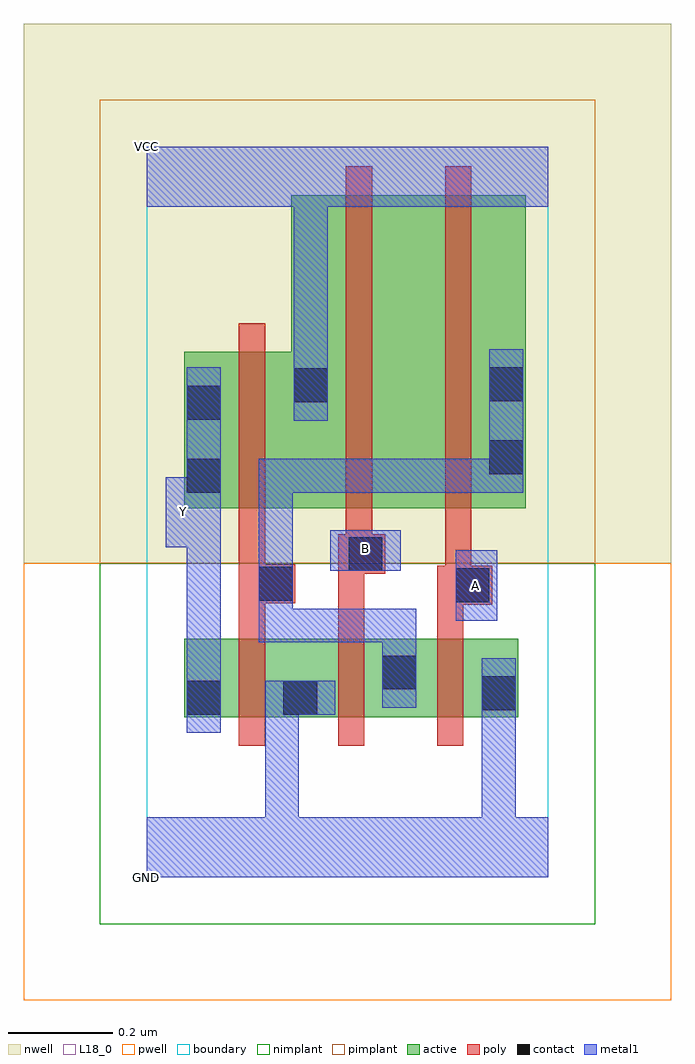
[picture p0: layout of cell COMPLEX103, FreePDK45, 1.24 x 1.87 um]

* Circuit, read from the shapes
.subckt COMPLEX103 A B GND VCC Y
M1 GND n1 Y VSUBS nfet w=0.15u l=0.05u
M2 n1 B GND VSUBS nfet w=0.15u l=0.05u
M3 GND A n1 VSUBS nfet w=0.15u l=0.05u
M4 VCC n1 Y n2 pfet w=0.3u l=0.05u
M5 n3 B VCC n2 pfet w=0.6u l=0.05u
M6 n1 A n3 n2 pfet w=0.6u l=0.05u
.ends

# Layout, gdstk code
import gdstk
lib = gdstk.Library(unit=1e-6, precision=1e-09)
def R(c, l, rs):  # rectangles x0, y0, x1, y1
    for r in rs: c.add(gdstk.rectangle(r[:2], r[2:], *l))
def A(c, l, x, y, w, h, nx, ny, dx, dy):  # array of equal rectangles
    R(c, l, [(x+i*dx, y+j*dy, x+i*dx+w, y+j*dy+h) for i in range(nx) for j in range(ny)])
active = (1, 0)
pwell = (2, 0)
nwell = (3, 0)
nimplant = (4, 0)
pimplant = (5, 0)
poly = (9, 0)
contact = (10, 0)
metal1 = (11, 0)
L18_0 = (18, 0)
boundary = (235, 0)

complex103 = lib.new_cell('COMPLEX103')
R(complex103, active, [(0.072,0.307,0.147,0.457), (0.072,0.307,0.332,0.457), (0.257,0.307,0.522,0.457), (0.257,0.307,0.332,0.397), (0.447,0.307,0.712,0.457), (0.447,0.307,0.522,0.457), (0.637,0.315,0.712,0.457), (0.072,0.707,0.352,1.007), (0.072,0.707,0.147,0.957), (0.277,0.707,0.502,1.307), (0.277,0.707,0.352,1.307), (0.502,0.707,0.727,1.307), (0.652,0.707,0.727,1.2)])
R(complex103, pwell, [(-0.235,-0.235,1.005,0.602)])
R(complex103, nwell, [(-0.235,0.602,1.005,1.635)])
R(complex103, nimplant, [(-0.09,-0.09,0.86,0.602)])
R(complex103, pimplant, [(-0.09,0.602,0.86,1.49)])
A(complex103, poly, 0.177, 0.252, 0.05, 0.26, 3, 1, 0.19, 0)
R(complex103, poly, [(0.177,0.462,0.227,0.575), (0.367,0.462,0.417,0.632), (0.557,0.462,0.607,0.572), (0.557,0.522,0.662,0.597), (0.177,0.525,0.285,0.6), (0.572,0.547,0.622,0.702), (0.177,0.55,0.227,0.702), (0.367,0.582,0.457,0.657), (0.382,0.607,0.432,0.702), (0.177,0.652,0.227,1.062), (0.382,0.652,0.432,1.362), (0.572,0.652,0.622,1.362)])
R(complex103, contact, [(0.077,0.312,0.142,0.377), (0.262,0.312,0.327,0.377), (0.642,0.32,0.707,0.385), (0.452,0.36,0.517,0.425), (0.592,0.527,0.657,0.592), (0.215,0.53,0.28,0.595), (0.387,0.587,0.452,0.652), (0.077,0.737,0.142,0.802), (0.657,0.772,0.722,0.837), (0.077,0.877,0.142,0.942), (0.282,0.91,0.347,0.975), (0.657,0.912,0.722,0.977)])
R(complex103, metal1, [(0,0,0.77,0.115), (0.227,0.05,0.292,0.377), (0.642,0.05,0.707,0.35), (0.077,0.277,0.142,0.412), (0.642,0.285,0.707,0.35), (0.642,0.285,0.707,0.35), (0.642,0.285,0.707,0.35), (0.642,0.285,0.707,0.35), (0.642,0.285,0.707,0.42), (0.227,0.312,0.292,0.377), (0.227,0.312,0.292,0.377), (0.227,0.312,0.292,0.377), (0.227,0.312,0.292,0.377), (0.227,0.312,0.362,0.377), (0.452,0.325,0.517,0.46), (0.077,0.347,0.142,0.697), (0.452,0.395,0.517,0.46), (0.452,0.395,0.517,0.515), (0.215,0.45,0.28,0.515), (0.215,0.45,0.517,0.515), (0.215,0.45,0.28,0.56), (0.592,0.492,0.672,0.627), (0.215,0.495,0.28,0.56), (0.215,0.495,0.28,0.56), (0.215,0.495,0.28,0.63), (0.215,0.495,0.28,0.802), (0.352,0.587,0.487,0.665), (0.037,0.632,0.142,0.767), (0.077,0.702,0.142,0.767), (0.077,0.702,0.142,0.977), (0.215,0.737,0.28,0.802), (0.215,0.737,0.52,0.802), (0.455,0.737,0.52,0.802), (0.455,0.737,0.52,0.802), (0.455,0.737,0.52,0.802), (0.455,0.737,0.722,0.802), (0.657,0.737,0.722,0.802), (0.657,0.737,0.722,0.802), (0.657,0.737,0.722,1.012), (0.282,0.875,0.347,1.01), (0.282,0.945,0.347,1.35), (0,1.285,0.77,1.4)])
R(complex103, L18_0, [(0,0,0.77,0.115), (0.227,0.05,0.292,0.377), (0.642,0.05,0.707,0.35), (0.077,0.277,0.142,0.412), (0.642,0.285,0.707,0.42), (0.642,0.285,0.707,0.35), (0.642,0.285,0.707,0.35), (0.642,0.285,0.707,0.35), (0.642,0.285,0.707,0.35), (0.227,0.312,0.292,0.377), (0.227,0.312,0.292,0.377), (0.227,0.312,0.292,0.377), (0.227,0.312,0.292,0.377), (0.227,0.312,0.362,0.377), (0.077,0.347,0.142,0.697), (0.592,0.492,0.672,0.627), (0.597,0.527,0.662,0.592), (0.352,0.587,0.487,0.665), (0.387,0.597,0.452,0.662), (0.037,0.632,0.142,0.767), (0.037,0.667,0.102,0.732), (0.077,0.702,0.142,0.977), (0.077,0.702,0.142,0.767), (0.282,0.875,0.347,1.01), (0.282,0.945,0.347,1.35), (0,1.285,0.77,1.4)])
R(complex103, boundary, [(0,0,0.77,1.4)])
complex103.add(gdstk.Label('A', (0.63,0.56), layer=11, texttype=0))
complex103.add(gdstk.Label('B', (0.42,0.63), layer=11, texttype=0))
complex103.add(gdstk.Label('Y', (0.07,0.7), layer=11, texttype=0))
complex103.add(gdstk.Label('VCC', (0,1.4), layer=11, texttype=0))
complex103.add(gdstk.Label('GND', (0,0), layer=11, texttype=0))

lib.write_gds('COMPLEX103.gds')
